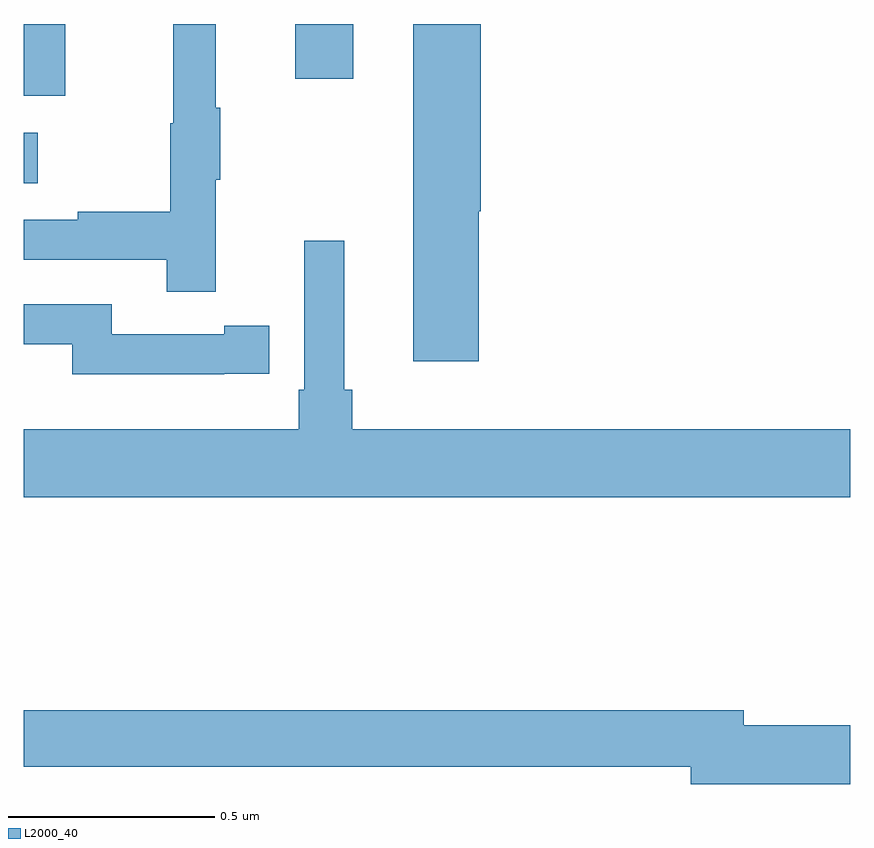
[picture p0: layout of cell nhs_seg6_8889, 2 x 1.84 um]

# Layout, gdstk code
import gdstk
lib = gdstk.Library(unit=1e-6, precision=1e-09)
def R(c, l, rs):  # rectangles x0, y0, x1, y1
    for r in rs: c.add(gdstk.rectangle(r[:2], r[2:], *l))
def P(c, l, *ps):  # polygons
    for p in ps: c.add(gdstk.Polygon(p, *l))
L2000_40 = (2000, 40)

nhs_seg6_8889 = lib.new_cell('nhs_seg6_8889')
R(nhs_seg6_8889, L2000_40, [(227,928.115,227.035,928.237), (227,928.326,227.101,928.5), (227.657,928.368,227.797,928.5)])
P(nhs_seg6_8889, L2000_40, [(227.465,928.123),(227.476,928.123),(227.476,928.297),(227.465,928.297),(227.465,928.5),(227.362,928.5),(227.362,928.26),(227.355,928.26),(227.355,928.046),(227.131,928.046),(227.131,928.026),(227,928.026),(227,927.93),(227.347,927.93),(227.347,927.852),(227.465,927.852)],
  [(228.101,928.047),(228.106,928.047),(228.106,928.5),(227.942,928.5),(227.942,927.684),(228.101,927.684)],
  [(229,927.52),(227.795,927.52),(227.795,927.616),(227.776,927.616),(227.776,927.976),(227.679,927.976),(227.679,927.616),(227.666,927.616),(227.666,927.52),(227,927.52),(227,927.356),(229,927.356)],
  [(227.486,927.654),(227.594,927.654),(227.594,927.77),(227.486,927.77),(227.486,927.75),(227.214,927.75),(227.214,927.822),(227,927.822),(227,927.726),(227.118,927.726),(227.118,927.653),(227.486,927.653)],
  [(229,926.804),(228.742,926.804),(228.742,926.84),(227,926.84),(227,926.704),(228.614,926.704),(228.614,926.662),(229,926.662)])

lib.write_gds('nhs_seg6_8889.gds')
